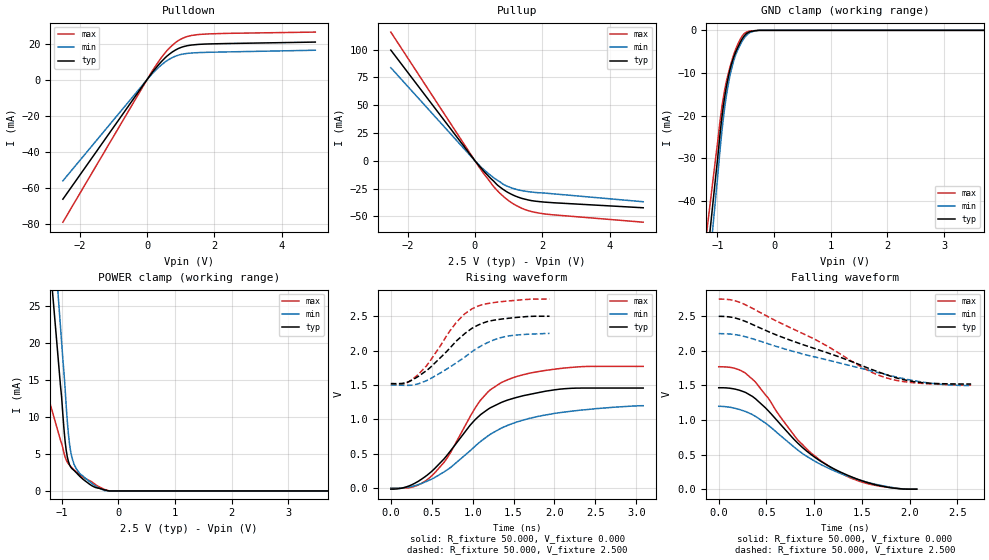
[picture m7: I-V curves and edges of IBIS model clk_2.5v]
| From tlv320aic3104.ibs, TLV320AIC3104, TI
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[Model]   clk_2.5v
Model_type I/O
Vinl=7.500E-01
Vinh=1.750E+00
Vref=0.000E+00
Rref=1.000E+06
Cref=0.000E+00
Vmeas=1.250E+00
C_comp   6.650E-13   6.560E-13   6.720E-13
[Voltage Range]   2.500E+00   2.250E+00   2.750E+00
[POWER Clamp Reference]   2.500E+00   2.250E+00   2.750E+00
[GND Clamp Reference]   0.000E+00   0.000E+00   0.000E+00
[Pullup Reference]   2.500E+00   2.250E+00   2.750E+00
[Pulldown Reference]   0.000E+00   0.000E+00   0.000E+00
[Temperature Range]   25   85   -40
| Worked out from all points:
|   slope of the pulldown table from 0 to 0.375 V, typ, clamps not added: 42 ohm
|   slope of the pullup table from 0 to 0.375 V, typ, clamps not added: 28.8 ohm
|   GND clamp passes 1 mA (typ) near -0.51 V on its own axis
|   POWER clamp passes 1 mA (typ) near -0.52 V on its own axis
|   rising waveform, R_fixture 50.000, V_fixture 0.000: 20-80 % time 676ps typ, 878ps min, 569ps max; typ from -0.015 V to 1.46 V
|   falling waveform, R_fixture 50.000, V_fixture 0.000: 20-80 % time 716ps typ, 768ps min, 671ps max; typ from 1.47 V to 0 V
|   rising waveform, R_fixture 50.000, V_fixture 2.500: 20-80 % time 525ps typ, 587ps min, 458ps max; typ from 1.52 V to 2.5 V
|   falling waveform, R_fixture 50.000, V_fixture 2.500: 20-80 % time 1.15ns typ, 1.25ns min, 1.01ns max; typ from 2.5 V to 1.52 V
[GND Clamp]
-2.5V     -221.7mA   -247.8mA   -191.4mA
-1.02V    -32.86mA   -37.56mA   -28.64mA
-940mV    -22.56mA   -26.11mA   -19.76mA
-900mV    -18.17mA   -21.14mA   -16.08mA
-860mV    -14.6mA    -16.96mA   -13.11mA
-800mV    -10.42mA   -12.02mA   -9.659mA
-760mV    -8.284mA   -9.487mA   -7.745mA
-680mV    -5.143mA   -5.798mA   -4.473mA
-580mV    -2.385mA   -2.936mA   -1.685mA
-480mV    -702.8uA   -1.069mA   -371.1uA
-260mV    0A         0A         0A
5V        0A         0A         0A
[Power Clamp]
-2.5V     147.9mA    176.5mA    46.89mA
-2.46V    144.2mA    171.9mA    45.6mA
-1.02V    14.26mA    22.24mA    6.885mA
-1V       12.72mA    20.17mA    6.423mA
-960mV    8.542mA    16.17mA    5.192mA
-920mV    5.554mA    11.62mA    4.224mA
-880mV    3.991mA    7.703mA    3.68mA
-820mV    3.042mA    4.583mA    3.152mA
-680mV    1.98mA     2.354mA    2.195mA
-400mV    455.7uA    654.6uA    842.4uA
-160mV    0A         0A         0A
5V        0A         0A         0A
[Pullup]
-2.5V     99.62mA    83.78mA    115.8mA
60mV      -2.22mA    -1.931mA   -2.763mA
320mV     -11.26mA   -9.426mA   -13.87mA
560mV     -18.44mA   -15.31mA   -23.36mA
680mV     -22.14mA   -17.79mA   -27.32mA
980mV     -28.5mA    -23.15mA   -35.45mA
1.2V      -31.77mA   -25.46mA   -39.86mA
1.48V     -34.51mA   -27.3mA    -43.82mA
2V        -37.02mA   -28.95mA   -47.56mA
5V        -42.3mA    -36.87mA   -55.27mA
[Pulldown]
-2.5V     -66.46mA   -56.25mA   -79.26mA
120mV     3.086mA    2.565mA    3.733mA
360mV     8.611mA    7.061mA    10.51mA
540mV     12.17mA    9.862mA    14.98mA
840mV     16.42mA    13.01mA    20.51mA
1.02V     17.98mA    14.05mA    22.67mA
1.16V     18.71mA    14.5mA     23.74mA
1.54V     19.61mA    15.04mA    25.11mA
5V        20.89mA    16.35mA    26.44mA
[Rising Waveform]
R_fixture = 50.000
V_fixture = 0.000
V_fixture_min = 0.000
V_fixture_max = 0.000
|  time   V(typ)   V(min)   V(max)
0s        -14.6mV    0V         0V
290ps     69.26mV    34.97mV    25.72mV
505ps     250.2mV    135mV      185.1mV
700ps     497.6mV    274.9mV    459.7mV
1.09ns    1.061V     672.2mV    1.269V
1.215ns   1.168V     782.9mV    1.429V
1.36ns    1.251V     878.4mV    1.541V
1.69ns    1.362V     1.014V     1.671V
2.085ns   1.442V     1.101V     1.742V
3.085ns   1.456V     1.199V     1.771V
[Falling Waveform]
R_fixture = 50.000
V_fixture = 0.000
V_fixture_min = 0.000
V_fixture_max = 0.000
|  time   V(typ)   V(min)   V(max)
0s        1.467V     1.199V     1.771V
210ps     1.434V     1.155V     1.728V
365ps     1.329V     1.069V     1.576V
520ps     1.133V     923.9mV    1.315V
825ps     670.5mV    569.7mV    716mV
1.16ns    329.2mV    296.9mV    324.9mV
1.375ns   187.5mV    178.2mV    166mV
1.565ns   93.05mV    96.65mV    77.66mV
1.815ns   18.39mV    25mV       19.79mV
2.075ns   0V         0V         0V
[Rising Waveform]
R_fixture = 50.000
V_fixture = 2.500
V_fixture_min = 2.250
V_fixture_max = 2.750
|  time   V(typ)   V(min)   V(max)
0s        1.521V     1.5V       1.505V
185ps     1.535V     1.495V     1.527V
340ps     1.628V     1.519V     1.659V
465ps     1.737V     1.58V      1.825V
790ps     2.126V     1.814V     2.394V
890ps     2.233V     1.895V     2.521V
995ps     2.327V     1.988V     2.61V
1.175ns   2.421V     2.112V     2.683V
1.365ns   2.461V     2.195V     2.714V
1.94ns    2.5V       2.25V      2.75V
[Falling Waveform]
R_fixture = 50.000
V_fixture = 2.500
V_fixture_min = 2.250
V_fixture_max = 2.750
|  time   V(typ)   V(min)   V(max)
0s        2.5V       2.25V      2.75V
140ps     2.486V     2.241V     2.735V
275ps     2.429V     2.206V     2.671V
620ps     2.222V     2.058V     2.421V
1.015ns   2.03V      1.91V      2.162V
1.485ns   1.796V     1.751V     1.776V
1.695ns   1.685V     1.678V     1.638V
1.875ns   1.605V     1.618V     1.57V
2.095ns   1.546V     1.558V     1.533V
2.645ns   1.521V     1.5V       1.505V
[Ramp]
dV/dt_r   8.8212E-01/6.7762E-10   7.1928E-01/8.4590E-10   1.0638E+00/5.7014E-10
dV/dt_f   5.8749E-01/1.1533E-09   4.5010E-01/1.2517E-09   7.4723E-01/1.0041E-09
R_load = 50
